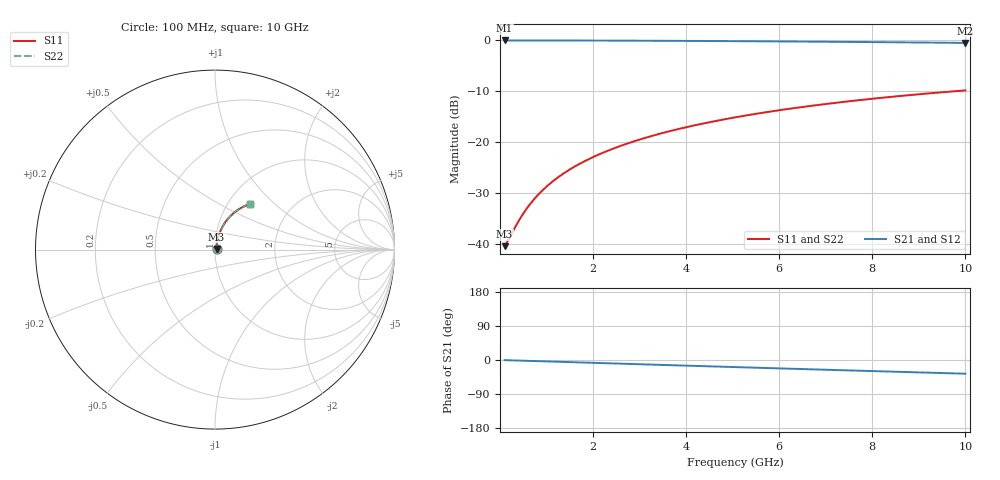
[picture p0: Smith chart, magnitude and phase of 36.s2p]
# Hz S RI R 50.00
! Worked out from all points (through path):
!   100 points, 100 MHz to 10 GHz, reference 50 ohm
!   highest |S21| = -0.08 dB at 100 MHz (marker M1); lowest = -0.6 dB at 10 GHz (marker M2)
!   group delay of S21, straight-line fit = 10.1 ps
!   lowest |S11| = -40.4 dB at 100 MHz (marker M3), VSWR 1.02, Z = 50.9 + j0.356 ohm
!   |S11| at or under -10 dB: start of sweep to 9.815 GHz
!   |S22| runs from -40.4 to -9.9 dB; largest |S21 - S12| = 0
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1e8  0.0089 0.00349  0.9911 -0.00646  0.9911 -0.00646  0.0089 0.00349
2e8  0.00902 0.00699  0.991 -0.0129  0.991 -0.0129  0.00902 0.00699
4e8  0.00937 0.014  0.9905 -0.0258  0.9905 -0.0258  0.00937 0.014
5e8  0.0096 0.0174  0.9903 -0.0323  0.9903 -0.0323  0.0096 0.0174
6e8  0.00988 0.0209  0.9899 -0.0387  0.9899 -0.0387  0.00988 0.0209
7e8  0.0102 0.0244  0.9896 -0.0452  0.9896 -0.0452  0.0102 0.0244
8e8  0.0106 0.0279  0.9891 -0.0516  0.9891 -0.0516  0.0106 0.0279
1e9  0.0114 0.0348  0.9881 -0.0645  0.9881 -0.0645  0.0114 0.0348
1.2e9  0.0124 0.0417  0.9869 -0.0773  0.9869 -0.0773  0.0124 0.0417
1.5e9  0.0143 0.052  0.9846 -0.0965  0.9846 -0.0965  0.0143 0.052
1.8e9  0.0166 0.0622  0.9819 -0.1156  0.9819 -0.1156  0.0166 0.0622
2.1e9  0.0192 0.0723  0.9787 -0.1346  0.9787 -0.1346  0.0192 0.0723
2.5e9  0.0234 0.0855  0.9738 -0.1598  0.9738 -0.1598  0.0234 0.0855
2.9e9  0.0282 0.0985  0.968 -0.1847  0.968 -0.1847  0.0282 0.0985
3.4e9  0.0351 0.1143  0.9596 -0.2154  0.9596 -0.2154  0.0351 0.1143
4.2e9  0.0482 0.1384  0.9438 -0.2634  0.9438 -0.2634  0.0482 0.1384
5.1e9  0.0657 0.1636  0.9226 -0.3155  0.9226 -0.3155  0.0657 0.1636
5.9e9  0.0833 0.1841  0.9009 -0.3598  0.9009 -0.3598  0.0833 0.1841
6.7e9  0.1028 0.2024  0.8768 -0.4022  0.8768 -0.4022  0.1028 0.2024
7.5e9  0.1238 0.2186  0.8505 -0.4424  0.8505 -0.4424  0.1238 0.2186
8.4e9  0.1489 0.2341  0.8188 -0.4849  0.8188 -0.4849  0.1489 0.2341
1e10  0.1962 0.2542  0.7576 -0.5532  0.7576 -0.5532  0.1962 0.2542
